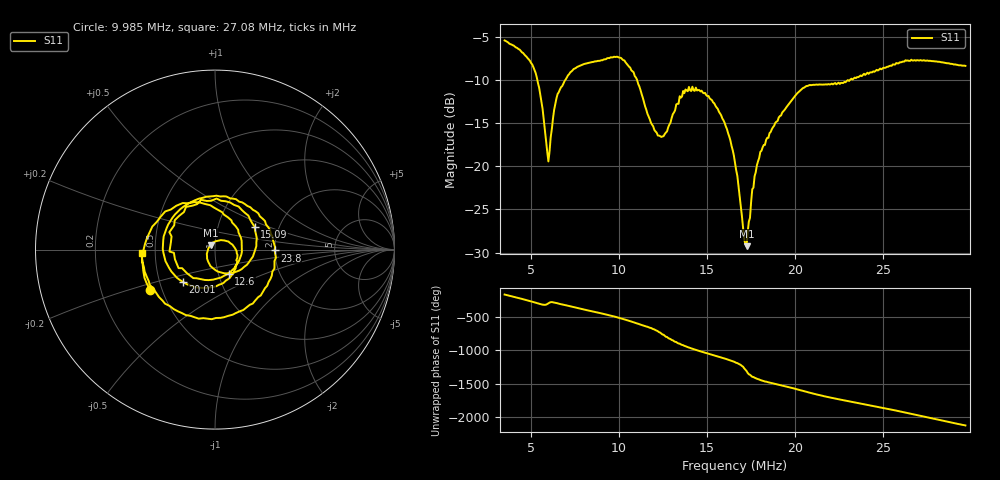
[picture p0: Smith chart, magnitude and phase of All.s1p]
# Hz S RI R 50
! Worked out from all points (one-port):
!   401 points, 3.5 MHz to 29.7 MHz, reference 50 ohm
!   lowest |S11| = -29.3 dB at 17.25 MHz (marker M1), VSWR 1.07, Z = 47.7 + j2.44 ohm
!   |S11| at or under -10 dB: 5.358 MHz to 6.963 MHz (1.604 MHz wide, 26 % of centre); 11.03 MHz to 23.15 MHz (12.12 MHz wide, 70.9 % of centre)
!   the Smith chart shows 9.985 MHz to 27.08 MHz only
!   S11 on the Smith chart (normalised r, x): 9.985 MHz: 0.43, -0.23; 12.6 MHz: 1.12, -0.31; 15.09 MHz: 1.50, +0.41; 20.01 MHz: 0.66, -0.25; 23.8 MHz: 1.99, -0.02; 27.08 MHz: 0.42, -0.02
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3500000  -0.5035 -0.1782
4810000  -0.1546 0.3922
5465000  0.142 0.2461
5989000  0.0425 0.0977
6775000  0.1835 0.2254
8085000  0.3401 -0.1947
9133000  -0.00701 -0.4144
9984500  -0.3634 -0.2225
1.005e7  -0.381 -0.1873
1.11635e7  -0.1157 0.2646
1.26045e7  0.0755 -0.1335
1.3325e7  -0.2231 -0.054
1.4242e7  -0.0464 0.271
1.50935e7  0.2204 0.1277
1.66e7  -0.0109 -0.1041
1.7255e7  -0.023 0.0256
1.8041e7  0.1207 -0.00923
1.9875e7  -0.1437 -0.1977
2.0006e7  -0.18 -0.1793
2.0792e7  -0.2884 0.0524
2.1709e7  -0.1062 0.2773
2.315e7  0.2658 0.1719
2.3805e7  0.332 -0.00486
2.53115e7  0.0747 -0.3688
2.6425e7  -0.313 -0.2634
2.708e7  -0.4082 -0.0165
2.839e7  -0.1081 0.3842
2.97e7  0.3157 0.2127
